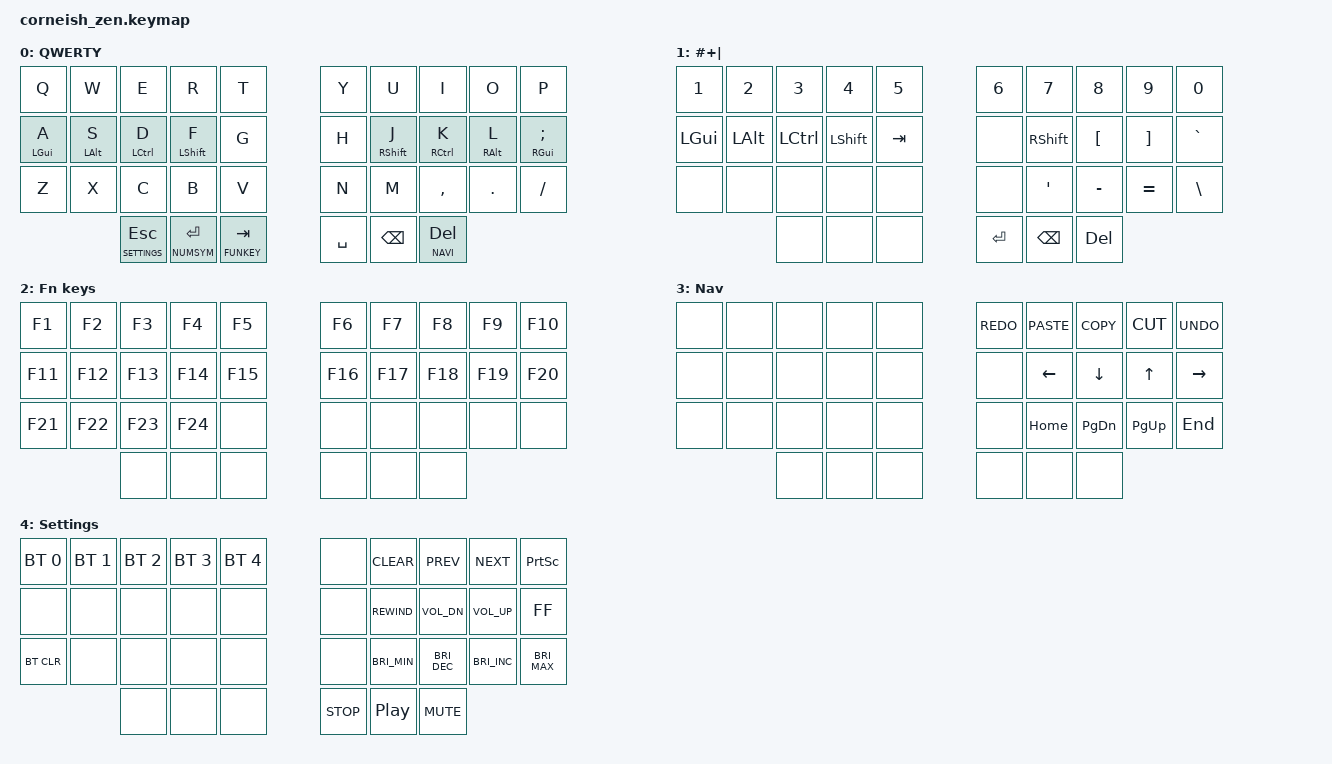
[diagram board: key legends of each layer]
/*
*
* Copyright (c) 2021 Darryl deHaan
* SPDX-License-Identifier: MIT
*
*/

#include <behaviors.dtsi>
#include <dt-bindings/zmk/keys.h>
#include <dt-bindings/zmk/bt.h>

#define QWERTY 0
#define NUMSYM 1
#define FUNKEY 2
#define NAVI   3
#define SETTINGS 4

/ {
    chosen {
        zmk,physical-layout = &foostan_corne_5col_layout;
    };
};

/ {
    behaviors {
        hm: homerow_mods {
            compatible = "zmk,behavior-hold-tap";
            label = "HOMEROW_MODS";
            #binding-cells = <2>;
            tapping-term-ms = <200>;
            quick_tap_ms = <0>;
            flavor = "tap-preferred";
            bindings = <&kp>, <&kp>;
        };
    };

    keymap {
        compatible = "zmk,keymap";

        default_layer {
            display-name = "QWERTY";
// .---------------------------------------------------------------.        .--------------------------------------------------------.
// |  Q        |  W        |  E        |  R        |  T            |        |  Y       |  U        |  I        |  O       |  P       |
// |  A (GUI)  |  S (ALT)  |  D (CTRL) |  F (SHFT) |  G            |        |  H       |  J (SHFT) |  K (CTRL) |  L (ALT) |  ; (GUI) |
// |  Z        |  X        |  C        |  V        |  B            |        |  N       |  M        |  ,        |  .       |  /       |
// '---------------------------------------------------------------|        |--------------------------------------------------------'
//               | ESC(=>setings) | RET(=> numsym)| TAB(=> f-keys) |        | SPC      | BKSP      | DEL(=> nav) |
//               '-------------------------------------------------'        '------------------------------------'
            bindings = <
&kp      Q &kp      W &kp       E    &kp        R    &kp T              &kp Y          &kp        U    &kp        I &kp      O &kp      P
&hm LGUI A &hm LALT S &hm LCTRL D    &hm LSHIFT F    &kp G              &kp H          &hm RSHIFT J    &hm  RCTRL K &hm RALT L &hm RGUI SEMI
&kp      Z &kp      X &kp       C    &kp        B    &kp V              &kp N          &kp        M    &kp     CMMA &kp    DOT &kp   FSLH
                      &lt SETTINGS ESC  &lt NUMSYM RET  &lt FUNKEY TAB           &kp       SPC  &kp       BSPC  &lt NAVI DEL
            >;
        };

        numsym_layer {
            display-name = "#+|";
// .-----------------------------.   .-----------------------------.
// |  1  |  2  |  3  |  4  |  5  |   |  6  |  7  |  8  |  9  |  0  |
// | GUI | ALT | CTRL| SHFT| TAB |   |     | SHFT|  [  |  ]  |  `  |
// |     |     |     |     |     |   |     |  '  |  -  |  =  |  \  |
// '-----------------------------|   |-----------------------------'
//             |     |     |     |   | RET | BSPC| DEL |
//             '-----------------'   '-----------------'
            bindings = <
&kp   N1 &kp   N2  &kp    N3 &kp     N4 &kp N5       &kp N6   &kp N7     &kp N8    &kp N9    &kp N0
&kp LGUI &kp LALT  &kp LCTRL &kp LSHIFT &kp TAB      &none    &kp RSHIFT &kp LBKT  &kp RBKT  &kp GRAVE
&none    &none     &none     &none      &none        &none    &kp SQT    &kp MINUS &kp EQUAL &kp BSLH
                   &none     &none      &none        &kp RET  &kp BSPC   &kp DEL
            >;
        };

        function_layer {
            display-name = "Fn keys";
// .-----------------------------.   .-----------------------------.
// | F1  | F2  | F3  | F4  | F5  |   | F6  | F7  | F8  | F9  | F0  |
// | F11 | F12 | F13 | F14 | F15 |   | F16 | F17 | F18 | F19 | F20 |
// | F21 | F22 | F23 | F24 |     |   |     |     |     |     |     |
// '-----------------------------|   |-----------------------------'
//             |     |     |     |   |     |     |     |
//             '-----------------'   '-----------------'
            bindings = <
&kp F1  &kp F2  &kp F3  &kp F4  &kp F5        &kp F6  &kp F7  &kp F8  &kp F9  &kp F10
&kp F11 &kp F12 &kp F13 &kp F14 &kp F15       &kp F16 &kp F17 &kp F18 &kp F19 &kp F20
&kp F21 &kp F22 &kp F23 &kp F24 &none         &none   &none   &none   &none   &none
                &none   &none   &none         &none   &none   &none
            >;
        };

        navigation_layer {
            display-name = "  Nav";
// .-----------------------------.   .-----------------------------.
// |     |     |     |     |     |   | REDO| PAST| COPY| CUT | UNDO|
// |     |     |     |     |     |   |     | LEFT| DOWN| UP  |RIGHT|
// |     |     |     |     |     |   |     | HOME| P_DN| P_UP| END |
// '-----------------------------|   |-----------------------------'
//             |     |     |     |   |     |     |     |
//             '-----------------'   '-----------------'
            bindings = <
&none    &none   &none   &none   &none           &kp K_REDO &kp K_PASTE &kp K_COPY &kp K_CUT &kp K_UNDO
&none    &none   &none   &none   &none           &none      &kp LEFT    &kp DOWN   &kp UP    &kp RIGHT
&none    &none   &none   &none   &none           &none      &kp HOME    &kp PG_DN  &kp PG_UP &kp END
                 &none   &none   &none           &none      &none       &none
            >;
        };

        media_layer {
            display-name = "Settings"; // configuration layer
//  Bluetooth side:                   Media controls (tries to mirror nav layer)
//    - choose profile 1-5               - clear (actually not sure what this is)
//    - clear a profile with CLR_P       - prev / next (for songs)
//                                       - rewind / ff is like (=- 30s) in a song
//                                       - vol up/down
//                                       - brightness min/down/up/max
//                                       - media stop/play-pause/mute
//                                       - PSCRN (printscreen) is on the P key in qwerty
// .-----------------------------.   .-------------------------------.
// |PROF1|PROF2|PROF3|PROF4|PROF5|   |     | CLEAR| PRV | NXT | PSCR |
// |     |     |     |     |     |   |     |  <<  |vol- |vol+ | >>   |
// |CLR_P|     |     |     |     |   |     |bri-mn|bri- |bri+ |bri-mx|
// '-----------------------------|   |-------------------------------'
//             |     |     |     |   | stop| play | mute|
//             '-----------------'   '------------------'
            bindings = <
              &bt BT_SEL 0 &bt BT_SEL 1 &bt BT_SEL 2 &bt BT_SEL 3 &bt BT_SEL 4        &none       &kp CLEAR     &kp C_PREV    &kp C_NEXT    &kp PSCRN
              &none       &none       &none          &none       &none                &none       &kp C_REWIND  &kp C_VOL_DN  &kp C_VOL_UP  &kp C_FF
              &bt BT_CLR  &none       &none          &none       &none                &none       &kp C_BRI_MIN &kp C_BRI_DEC &kp C_BRI_INC &kp C_BRI_MAX
                                      &none          &none       &none                &kp C_STOP  &kp C_PLAY_PAUSE &kp C_MUTE
            >;
        };
    };
};
